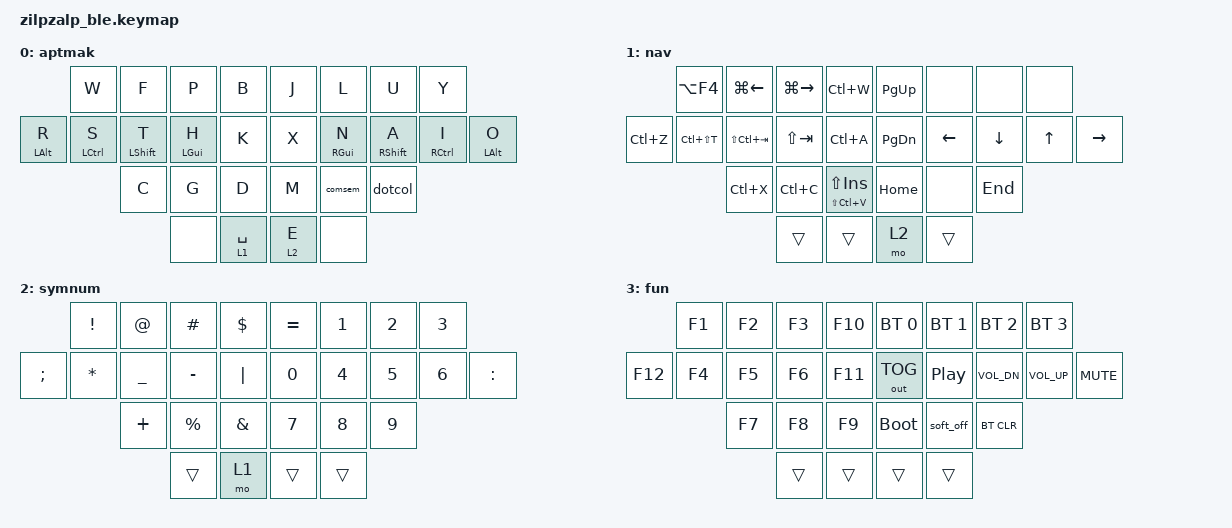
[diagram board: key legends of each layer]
#include <behaviors.dtsi>
#include <dt-bindings/zmk/bt.h>
#include <dt-bindings/zmk/keys.h>
#include <dt-bindings/zmk/mouse.h>
#include <dt-bindings/zmk/outputs.h>

&lt { quick_tap_ms = <200>; };

&soft_off { hold-time-ms = <1000>; };
    
// &kscan0 { wakeup-source; };

#define COMBO_TIMEOUT 30

//     __________________________  __________________________
//    /     0  |  1  |  2  |  3  \/   4 |   5 |   6 |   7    \
// |  8  |  9  | 10  | 11  | 12  /\  13 |  14 |  15 |  16 | 17  |
//    \    18  | 19  | 20    /        \    21 |  22 |  23   /
//          \    24  | 25  /            \  26 |  27    /
//           --------------              --------------

/ {
    combos {
        compatible = "zmk,combos";

        combo_v {
            timeout-ms = <COMBO_TIMEOUT>;
            key-positions = <0 1>;
            bindings = <&kp V>;
            layers = <0>;
	    require-prior-idle-ms = <50>;
        };

        combo_q {
            timeout-ms = <COMBO_TIMEOUT>;
            key-positions = <1 2>;
            bindings = <&kp Q>;
            layers = <0>;
	    require-prior-idle-ms = <50>;
        };

        combo_z {
            timeout-ms = <COMBO_TIMEOUT>;
            key-positions = <18 19>;
            bindings = <&kp Z>;
            layers = <0>;
	    require-prior-idle-ms = <50>;
        };

        combo_apos {
            timeout-ms = <COMBO_TIMEOUT>;
            key-positions = <6 7>;
            bindings = <&kp APOS>;
	    layers = <0>;
	    require-prior-idle-ms = <50>;
        };

        combo_grave {
            timeout-ms = <COMBO_TIMEOUT>;
            key-positions = <5 6>;
            bindings = <&kp GRAVE>;
	    layers = <0>;
	    require-prior-idle-ms = <50>;
        };

        combo_fwslash {
            timeout-ms = <COMBO_TIMEOUT>;
            key-positions = <22 23>;
            bindings = <&kp SLASH>;
	    layers = <0 2>;
	    require-prior-idle-ms = <50>;
        };

        combo_bkslash {
            timeout-ms = <COMBO_TIMEOUT>;
            key-positions = <21 22>;
            bindings = <&kp BACKSLASH>;
	    layers = <0 2>;
	    require-prior-idle-ms = <50>;
        };

        combo_lt {
            timeout-ms = <COMBO_TIMEOUT>;
            key-positions = <3 12>;
            bindings = <&kp LT>;
	    layers = <0 2>;
	    require-prior-idle-ms = <50>;
        };

        combo_gt {
            timeout-ms = <COMBO_TIMEOUT>;
            key-positions = <4 13>;
            bindings = <&kp GT>;
	    layers = <0 2>;
	    require-prior-idle-ms = <50>;
        };

        combo_lpar {
            timeout-ms = <COMBO_TIMEOUT>;
            key-positions = <2 11>;
            bindings = <&kp LPAR>;
	    layers = <0 2>;
	    require-prior-idle-ms = <50>;
        };

        combo_lbkt {
            timeout-ms = <COMBO_TIMEOUT>;
            key-positions = <1 10>;
            bindings = <&kp LBKT>;
	    layers = <0 2>;
	    require-prior-idle-ms = <50>;
        };

        combo_lbrc {
            timeout-ms = <COMBO_TIMEOUT>;
            key-positions = <0 9>;
            bindings = <&kp LBRC>;
	    layers = <0 2>;
	    require-prior-idle-ms = <50>;
        };

        combo_rpar {
            timeout-ms = <COMBO_TIMEOUT>;
            key-positions = <5 14>;
            bindings = <&kp RPAR>;
	    layers = <0 2>;
	    require-prior-idle-ms = <50>;
        };

        combo_rbkt {
            timeout-ms = <COMBO_TIMEOUT>;
            key-positions = <6 15>;
            bindings = <&kp RBKT>;
	    layers = <0 2>;
	    require-prior-idle-ms = <50>;
        };

        combo_rbrc {
            timeout-ms = <COMBO_TIMEOUT>;
            key-positions = <7 16>;
            bindings = <&kp RBRC>;
	    layers = <0 2>;
	    require-prior-idle-ms = <50>;
        };

        combo_bspc {
            timeout-ms = <COMBO_TIMEOUT>;
            key-positions = <14 21>;
            bindings = <&kp BSPC>;
	    layers = <0 2>;
	    require-prior-idle-ms = <0>;
        };

        combo_del {
            timeout-ms = <COMBO_TIMEOUT>;
            key-positions = <15 22>;
            bindings = <&kp DEL>;
	    layers = <0 2>;
	    require-prior-idle-ms = <0>;
        };

        combo_enter {
            timeout-ms = <COMBO_TIMEOUT>;
            key-positions = <14 16>;
            bindings = <&kp ENTER>;
	    layers = <0 2>;
	    require-prior-idle-ms = <50>;
        };

        combo_esc {
            timeout-ms = <COMBO_TIMEOUT>;
            key-positions = <9 11>;
            bindings = <&kp ESCAPE>;
	    layers = <0 2>;
	    require-prior-idle-ms = <50>;
        };

        combo_tab {
            timeout-ms = <COMBO_TIMEOUT>;
            key-positions = <9 10>;
            bindings = <&kp TAB>;
	    layers = <0 2>;
	    require-prior-idle-ms = <50>;
        };

        combo_lshift {
            timeout-ms = <COMBO_TIMEOUT>;
            key-positions = <10 11>;
            bindings = <&sk LEFT_SHIFT>;
            layers = <0 2>;
	    require-prior-idle-ms = <50>;
        };

        combo_rshift {
            timeout-ms = <COMBO_TIMEOUT>;
            key-positions = <14 15>;
            bindings = <&sk RIGHT_SHIFT>;
            layers = <0 2>;
	    require-prior-idle-ms = <50>;
        };

        combo_capsword {
            timeout-ms = <COMBO_TIMEOUT>;
            key-positions = <11 14>;
            bindings = <&caps_word>;
            layers = <0 2>;
	    require-prior-idle-ms = <50>;
        };

        combo_caps {
            timeout-ms = <COMBO_TIMEOUT>;
            key-positions = <0 7>;
            bindings = <&kp CAPSLOCK>;
            layers = <0 2>;
	    require-prior-idle-ms = <50>;
        };

        combo_lclk {
            timeout-ms = <COMBO_TIMEOUT>;
            key-positions = <11 20>;
            bindings = <&mkp LCLK>;
	    layers = <0 2>;
	    require-prior-idle-ms = <0>;
        };

        combo_rclk {
            timeout-ms = <COMBO_TIMEOUT>;
            key-positions = <10 19>;
            bindings = <&mkp RCLK>;
	    layers = <0 2>;
	    require-prior-idle-ms = <0>;
        };

        combo_mclk {
            timeout-ms = <COMBO_TIMEOUT>;
            key-positions = <9 18>;
            bindings = <&mkp MCLK>;
	    layers = <0 2>;
	    require-prior-idle-ms = <0>;
        };

        combo_softoff {
            timeout-ms = <100>;
            key-positions = <21 22 23>;
            bindings = <&soft_off>;
	    layers = <0 3>;
	    require-prior-idle-ms = <500>;
        };

        combo_boot {
            timeout-ms = <100>;
            key-positions = <18 19 20>;
            bindings = <&bootloader>;
	    layers = <3>;
	    require-prior-idle-ms = <500>;
        };
    };

    behaviors {
        hl: homerow_mods_left {
            compatible = "zmk,behavior-hold-tap";
            label = "homerow mods left";
            #binding-cells = <2>;
            flavor = "tap-preferred";
            tapping-term-ms = <200>;
            quick-tap-ms = <100>;

            // global-quick-tap;

            bindings = <&kp>, <&kp>;

            // opposite side hand keys

            // hold-trigger-key-positions = <4 5 6 7 13 14 15 16 17 21 22 23 26 27>;
        };

        hr: homerow_mods_right {
            compatible = "zmk,behavior-hold-tap";
            label = "homerow mods right";
            #binding-cells = <2>;
            flavor = "tap-preferred";
            tapping-term-ms = <200>;
            quick-tap-ms = <100>;

            // global-quick-tap;

            bindings = <&kp>, <&kp>;

            // opposite side hand keys

            // hold-trigger-key-positions = <0 1 2 3 8 9 10 11 12 18 19 20 24 25>;
        };

        dotcol: dot_colon {
            compatible = "zmk,behavior-mod-morph";
            label = "DOT_COL";
            #binding-cells = <0>;
            bindings = <&kp DOT>, <&kp COLON>;

            mods = <(MOD_LSFT|MOD_RSFT)>;
        };

        comsem: comma_semicolon {
            compatible = "zmk,behavior-mod-morph";
            label = "COM_SEM";
            #binding-cells = <0>;
            bindings = <&kp COMMA>, <&kp SEMI>;

            mods = <(MOD_LSFT|MOD_RSFT)>;
        };
    };

    keymap {
        compatible = "zmk,keymap";

        aptmak {
	    bindings = <
				&kp W		&kp F		&kp P		&kp B			&kp J		&kp L		&kp U		&kp Y
		&hl LALT R	&hl LCTRL S	&hl LSHFT T	&hl LGUI H	&kp K			&kp X		&hr RGUI N	&hr RSHFT A	&hr RCTRL I	&hr LALT O
				&kp C		&kp G		&kp D							&kp M		&comsem		&dotcol

								&none		&lt 1 SPACE		&lt 2 E		&none			
	    >;
        };

        nav {
            bindings = <
				&kp LA(F4)	&kp LG(LEFT)	&kp LG(RIGHT)	&kp LC(W)		&kp PAGE_UP	&none			&none			&none
		&kp LC(Z)	&kp LC(LS(T))	&kp LS(LC(TAB))	&kp LS(TAB)	&kp LC(A)		&kp PAGE_DOWN	&kp LEFT		&kp DOWN		&kp UP		&kp RIGHT
				&kp LC(X)	&kp LC(C)	&mt LS(LC(V)) LS(INSERT)				&kp HOME		&none			&kp END

								&trans		&trans			&mo 2		&trans
            >;
        };

        symnum {
	    bindings = <
				&kp EXCL	&kp AT_SIGN	&kp POUND	&kp DOLLAR		&kp EQUAL	&kp N1		&kp N2		&kp N3
		&kp SEMI	&kp STAR	&kp UNDER	&kp MINUS	&kp PIPE		&kp N0		&kp N4		&kp N5		&kp N6		&kp COLON
				&kp PLUS	&kp PERCENT	&kp AMPS						&kp N7		&kp N8		&kp N9

								&trans		&mo 1			&trans		&trans
	    >;
        };

        fun {
	    bindings = <
				&kp F1		&kp F2		&kp F3		&kp F10			&bt BT_SEL 0	&bt BT_SEL 1	&bt BT_SEL 2	&bt BT_SEL 3
		&kp F12		&kp F4		&kp F5		&kp F6		&kp F11			&out OUT_TOG	&kp C_PP	&kp C_VOL_DN	&kp C_VOL_UP	&kp C_MUTE
				&kp F7		&kp F8		&kp F9							&bootloader	&soft_off	&bt BT_CLR

								&trans		&trans			&trans		&trans
	    >;
        };
    };

    conditional_layers {
        compatible = "zmk,conditional-layers";

        fun {
            if-layers = <2 1>;
            then-layer = <3>;
        };
    };
};

